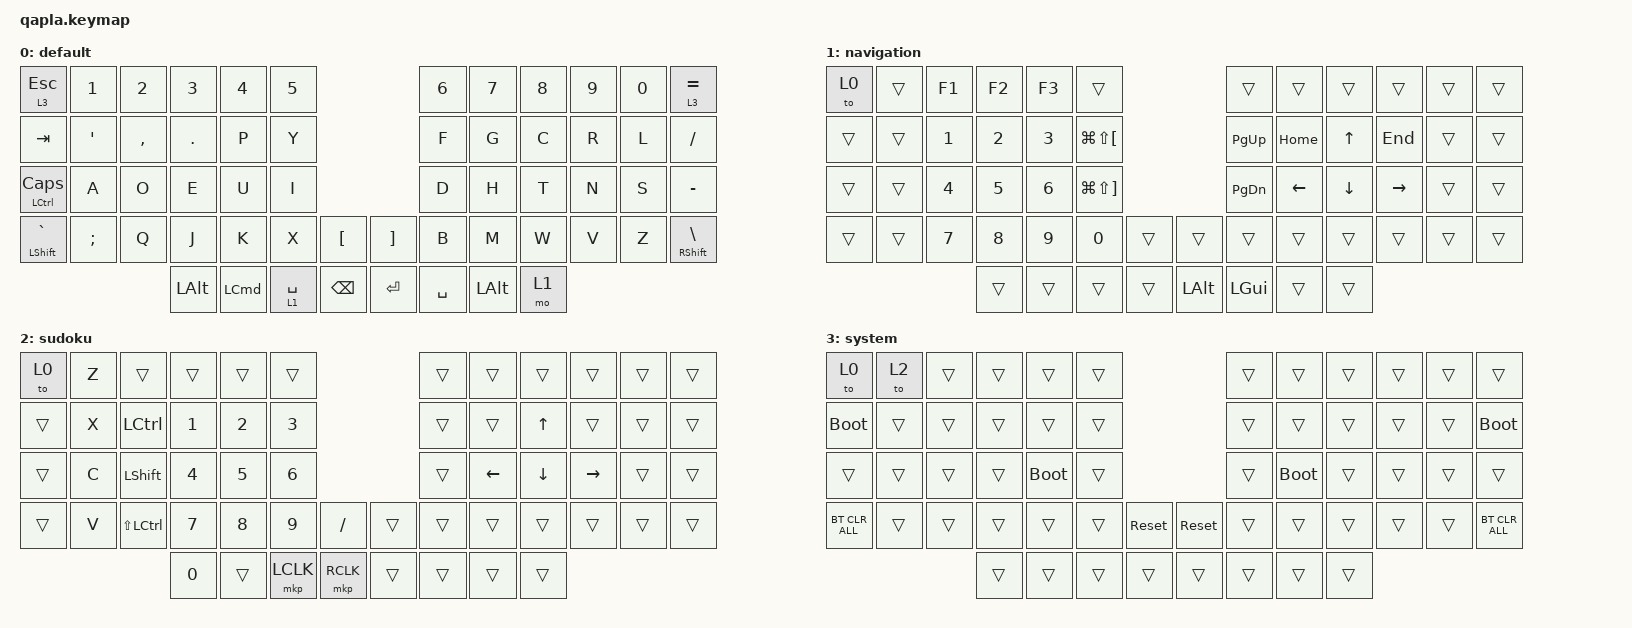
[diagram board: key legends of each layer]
#include <behaviors.dtsi>
#include <dt-bindings/zmk/bt.h>
#include <dt-bindings/zmk/keys.h>
#include <dt-bindings/zmk/mouse.h>

/ {
    keymap {
        compatible = "zmk,keymap";

        default_layer {
            display-name = "default";
            bindings = <
&lt 3 ESC         &kp N1    &kp N2     &kp N3        &kp N4    &kp N5                                    &kp N6     &kp N7        &kp N8  &kp N9  &kp N0  &lt 3 EQUAL
&kp TAB           &kp SQT   &kp COMMA  &kp DOT       &kp P     &kp Y                                     &kp F      &kp G         &kp C   &kp R   &kp L   &kp SLASH
&mt LCTRL CAPS    &kp A     &kp O      &kp E         &kp U     &kp I                                     &kp D      &kp H         &kp T   &kp N   &kp S   &kp MINUS
&mt LSHIFT GRAVE  &kp SEMI  &kp Q      &kp J         &kp K     &kp X        &kp LBKT         &kp RBKT    &kp B      &kp M         &kp W   &kp V   &kp Z   &mt RSHIFT BACKSLASH
                                       &kp LEFT_ALT  &kp LCMD  &lt 1 SPACE  &kp BACKSPACE    &kp RETURN  &kp SPACE  &kp LEFT_ALT  &mo 1
            >;
        };

        nav {
            display-name = "navigation";
            bindings = <
&to 0   &trans  &kp F1  &kp F2  &kp F3  &trans                                             &trans         &trans    &trans    &trans     &trans  &trans
&trans  &trans  &kp N1  &kp N2  &kp N3  &kp LG(LS(LEFT_BRACKET))                           &kp PAGE_UP    &kp HOME  &kp UP    &kp END    &trans  &trans
&trans  &trans  &kp N4  &kp N5  &kp N6  &kp LG(LS(RIGHT_BRACKET))                          &kp PAGE_DOWN  &kp LEFT  &kp DOWN  &kp RIGHT  &trans  &trans
&trans  &trans  &kp N7  &kp N8  &kp N9  &kp N0                     &trans    &trans        &trans         &trans    &trans    &trans     &trans  &trans
                        &trans  &trans  &trans                     &trans    &kp LEFT_ALT  &kp LGUI       &trans    &trans
            >;
        };

        sudoku {
            display-name = "sudoku";
            bindings = <
&to 0   &kp Z  &trans                &trans  &trans  &trans                          &trans  &trans    &trans    &trans     &trans  &trans
&trans  &kp X  &kp LEFT_CONTROL      &kp N1  &kp N2  &kp N3                          &trans  &trans    &kp UP    &trans     &trans  &trans
&trans  &kp C  &kp LEFT_SHIFT        &kp N4  &kp N5  &kp N6                          &trans  &kp LEFT  &kp DOWN  &kp RIGHT  &trans  &trans
&trans  &kp V  &kp LS(LEFT_CONTROL)  &kp N7  &kp N8  &kp N9     &kp SLASH    &trans  &trans  &trans    &trans    &trans     &trans  &trans
                                     &kp N0  &trans  &mkp LCLK  &mkp RCLK    &trans  &trans  &trans    &trans
            >;
        };

        system {
            display-name = "system";
            bindings = <
&to 0           &to 2   &trans  &trans  &trans       &trans                            &trans  &trans       &trans  &trans  &trans  &trans
&bootloader     &trans  &trans  &trans  &trans       &trans                            &trans  &trans       &trans  &trans  &trans  &bootloader
&trans          &trans  &trans  &trans  &bootloader  &trans                            &trans  &bootloader  &trans  &trans  &trans  &trans
&bt BT_CLR_ALL  &trans  &trans  &trans  &trans       &trans  &sys_reset    &sys_reset  &trans  &trans       &trans  &trans  &trans  &bt BT_CLR_ALL
                                &trans  &trans       &trans  &trans        &trans      &trans  &trans       &trans
            >;
        };
    };
};
